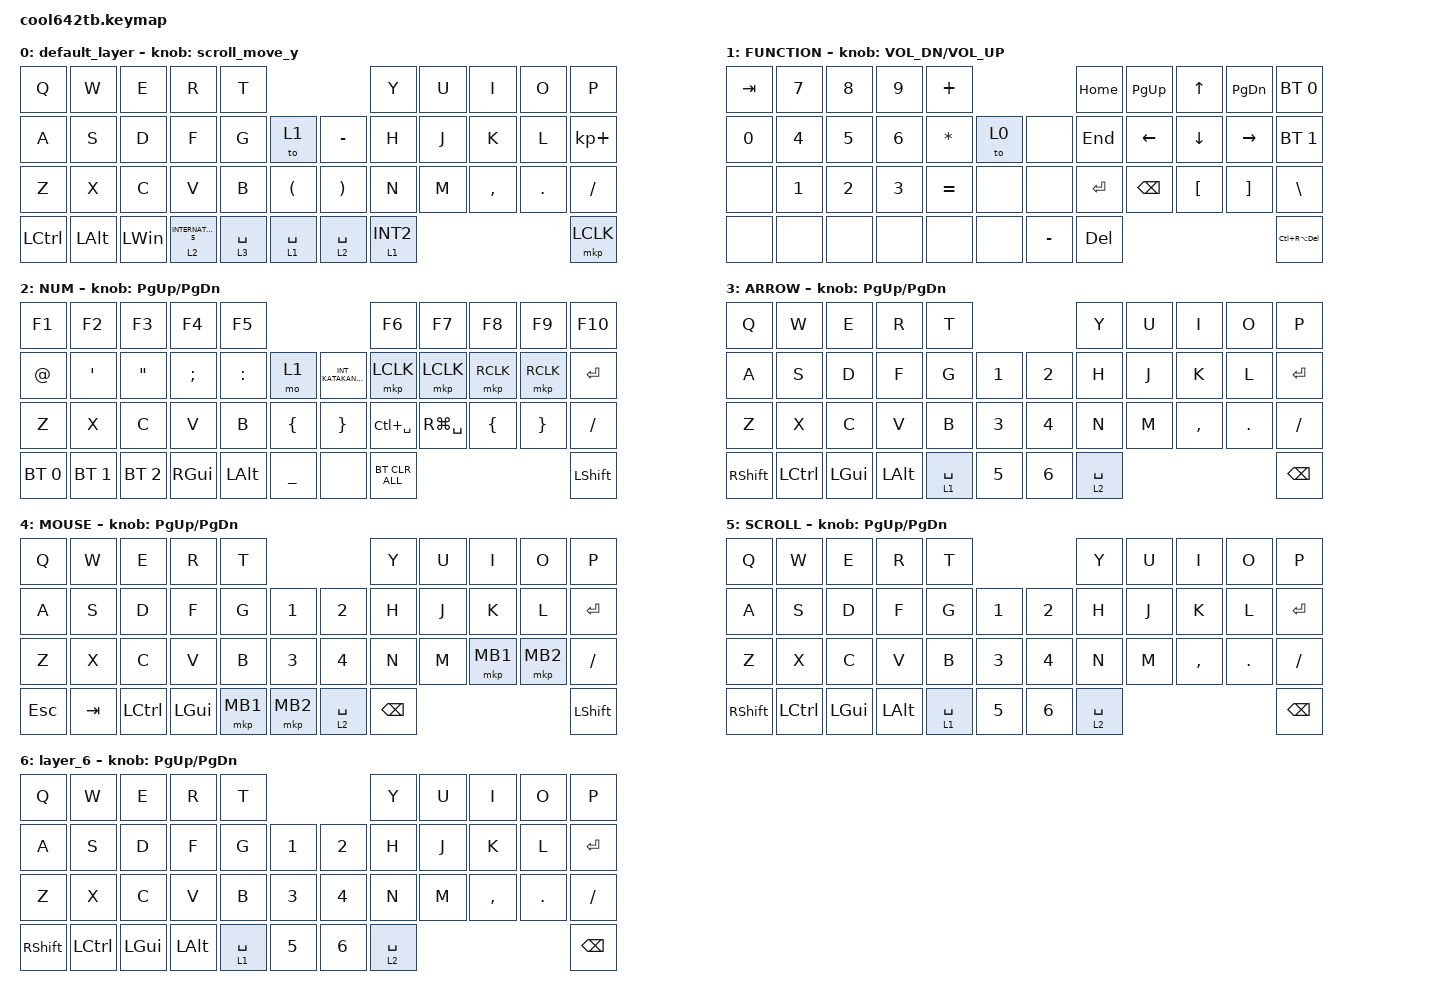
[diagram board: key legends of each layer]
#include <behaviors.dtsi>
#include <dt-bindings/zmk/bt.h>
#include <dt-bindings/zmk/keys.h>
#include <dt-bindings/zmk/pointing.h>

#define ZMK_MOUSE_DEFAULT_SCRL_VAL 100
#define MOUSE 4
#define SCROLL 5
#define NUM 6

&mt {
    flavor = "balanced";
    quick-tap-ms = <0>;
};

/ {
    combos {
        compatible = "zmk,combos";

        comb1 {
            bindings = <&kp TAB>;
            key-positions = <11 10>;
        };

        comb2 {
            bindings = <&kp LS(ESCAPE)>;
            key-positions = <0 1>;
        };

        comb3 {
            bindings = <&kp CAPSLOCK>;
            key-positions = <22 23>;
        };

        comb4 {
            bindings = <&kp BACKSPACE>;
            key-positions = <9 8>;
        };

        comb5 {
            bindings = <&bt BT_CLR_ALL>;
            key-positions = <9 8>;
            timeout-ms = <0>;
            layers = <2>;
        };

        MS_BTN1_ {
            bindings = <&mkp MB1>;
            key-positions = <38 39>;
        };

        MS_BTN2_ {
            bindings = <&mkp MB2>;
            key-positions = <38 37>;
        };
    };

    macros {
        to_layer_0: to_layer_0 {
            compatible = "zmk,behavior-macro-one-param";
            #binding-cells = <1>;
            bindings = <&to 0 &macro_param_1to1 &kp MACRO_PLACEHOLDER>;
            label = "TO_LAYER_0";
        };
    };

    behaviors {
        lt_to_layer_0: lt_to_layer_0 {
            compatible = "zmk,behavior-hold-tap";
            label = "LAYER_TAP_TO_0";
            bindings = <&mo>, <&to_layer_0>;

            #binding-cells = <2>;
            tapping-term-ms = <200>;
        };

        scroll_up_down: behavior_sensor_rotate_mouse_wheel_up_down {
            compatible = "zmk,behavior-sensor-rotate";
            #sensor-binding-cells = <0>;
            bindings = <&msc SCRL_UP>, <&msc SCRL_DOWN>;

            tap-ms = <20>;
        };
    };

    // エンコーダー：キー

    rot_kp: sensor_rotate_kp {
        compatible = "zmk,behavior-sensor-rotate-var";
        #sensor-binding-cells = <2>;
        bindings = <&kp>, <&kp>;
    };

    // エンコーダー：マウススクロール 

    rot_msc: sensor_rotate_msc {
        compatible = "zmk,behavior-sensor-rotate-var";
        #sensor-binding-cells = <2>;
        tap-ms = <20>;
        bindings = <&msc>, <&msc>;
    };

    // エンコーダー：マウススクロール(MOVE_Y)

    scroll_move_y: sensor_rotate_msc_for_move_y {
        compatible = "zmk,behavior-sensor-rotate";
        #sensor-binding-cells = <0>;
        bindings = <&msc MOVE_Y(20)>, <&msc MOVE_Y(-20)>;

        // tap-ms下限メモ Yの値で可変: Y(15) <81>, Y(20) <65>, Y(25) <49>

        tap-ms = <65>;
    };

    // エンコーダー：マウススクロール(MOVE_X)

    scroll_move_x: sensor_rotate_msc_for_move_x {
        compatible = "zmk,behavior-sensor-rotate";
        #sensor-binding-cells = <0>;
        bindings = <&msc MOVE_X(20)>, <&msc MOVE_X(-20)>;

        // tap-ms下限メモ Xの値で可変: X(15) <81>, X(20) <65>, X(25) <49>

        tap-ms = <65>;
    };

    keymap {
        compatible = "zmk,keymap";

        default_layer {
            bindings = <
&kp Q             &kp W         &kp E         &kp R                  &kp T                                                     &kp Y       &kp U  &kp I      &kp O       &kp P
&kp A             &kp S         &kp D         &kp F                  &kp G        &to 1                 &kp MINUS              &kp H       &kp J  &kp K      &kp L       &kp KP_PLUS
&kp Z             &kp X         &kp C         &kp V                  &kp B        &kp LEFT_PARENTHESIS  &kp RIGHT_PARENTHESIS  &kp N       &kp M  &kp COMMA  &kp PERIOD  &kp SLASH
&kp LEFT_CONTROL  &kp LEFT_ALT  &kp LEFT_WIN  &lt 2 INTERNATIONAL_5  &lt 3 SPACE  &lt 1 SPACE           &lt 2 SPACE            &lt 1 INT2                                &mkp LCLK
            >;

            sensor-bindings = <&scroll_move_y>;
        };

        FUNCTION {
            bindings = <
&kp TAB  &kp N7        &kp N8        &kp N9        &kp PLUS                        &kp HOME   &kp PAGE_UP    &kp UP_ARROW      &kp PAGE_DOWN      &bt BT_SEL 0
&kp N0   &kp NUMBER_4  &kp N5        &kp NUMBER_6  &kp ASTERISK  &to 0  &none      &kp END    &kp LEFT       &kp DOWN_ARROW    &kp RIGHT          &bt BT_SEL 1
&none    &kp NUMBER_1  &kp NUMBER_2  &kp NUMBER_3  &kp EQUAL     &none  &none      &kp ENTER  &kp BACKSPACE  &kp LEFT_BRACKET  &kp RIGHT_BRACKET  &kp BACKSLASH
&none    &none         &none         &none         &none         &none  &kp MINUS  &kp DEL                                                        &kp LC(RA(DELETE))
            >;

            sensor-bindings = <&inc_dec_kp C_VOL_DN C_VOL_UP>;
        };

        NUM {
            bindings = <
&kp F1        &kp F2        &kp F3             &kp F4         &kp F5                                                  &kp F6          &kp F7         &kp F8          &kp F9           &kp F10
&kp AT_SIGN   &kp SQT       &kp DOUBLE_QUOTES  &kp SEMICOLON  &kp COLON     &mo 1           &kp INT_KATAKANAHIRAGANA  &mkp LCLK       &mkp LCLK      &mkp RCLK       &mkp RCLK        &kp ENTER
&kp Z         &kp X         &kp C              &kp V          &kp B         &kp LEFT_BRACE  &kp RIGHT_BRACE           &kp LC(SPACE)   &kp RG(SPACE)  &kp LEFT_BRACE  &kp RIGHT_BRACE  &kp SLASH
&bt BT_SEL 0  &bt BT_SEL 1  &bt BT_SEL 2       &kp RGUI       &kp LEFT_ALT  &kp UNDERSCORE  &none                     &bt BT_CLR_ALL                                                  &kp LEFT_SHIFT
            >;

            sensor-bindings = <&inc_dec_kp PG_UP PAGE_DOWN>;
        };

        ARROW {
            bindings = <
&kp Q       &kp W      &kp E     &kp R     &kp T                        &kp Y        &kp U  &kp I      &kp O       &kp P
&kp A       &kp S      &kp D     &kp F     &kp G        &kp N1  &kp N2  &kp H        &kp J  &kp K      &kp L       &kp ENTER
&kp Z       &kp X      &kp C     &kp V     &kp B        &kp N3  &kp N4  &kp N        &kp M  &kp COMMA  &kp PERIOD  &kp SLASH
&kp RSHIFT  &kp LCTRL  &kp LGUI  &kp LALT  &lt 1 SPACE  &kp N5  &kp N6  &lt 2 SPACE                                &kp BSPC
            >;

            sensor-bindings = <&inc_dec_kp PG_UP PAGE_DOWN>;
        };

        MOUSE {
            bindings = <
&kp Q       &kp W    &kp E             &kp R         &kp T                            &kp Y          &kp U  &kp I     &kp O     &kp P
&kp A       &kp S    &kp D             &kp F         &kp G     &kp N1    &kp N2       &kp H          &kp J  &kp K     &kp L     &kp ENTER
&kp Z       &kp X    &kp C             &kp V         &kp B     &kp N3    &kp N4       &kp N          &kp M  &mkp MB1  &mkp MB2  &kp SLASH
&kp ESCAPE  &kp TAB  &kp LEFT_CONTROL  &kp LEFT_GUI  &mkp MB1  &mkp MB2  &lt 2 SPACE  &kp BACKSPACE                             &kp LEFT_SHIFT
            >;

            sensor-bindings = <&inc_dec_kp PG_UP PAGE_DOWN>;
        };

        SCROLL {
            bindings = <
&kp Q       &kp W      &kp E     &kp R     &kp T                        &kp Y        &kp U  &kp I      &kp O       &kp P
&kp A       &kp S      &kp D     &kp F     &kp G        &kp N1  &kp N2  &kp H        &kp J  &kp K      &kp L       &kp ENTER
&kp Z       &kp X      &kp C     &kp V     &kp B        &kp N3  &kp N4  &kp N        &kp M  &kp COMMA  &kp PERIOD  &kp SLASH
&kp RSHIFT  &kp LCTRL  &kp LGUI  &kp LALT  &lt 1 SPACE  &kp N5  &kp N6  &lt 2 SPACE                                &kp BSPC
            >;

            sensor-bindings = <&inc_dec_kp PG_UP PAGE_DOWN>;
        };

        layer_6 {
            bindings = <
&kp Q       &kp W      &kp E     &kp R     &kp T                        &kp Y        &kp U  &kp I      &kp O       &kp P
&kp A       &kp S      &kp D     &kp F     &kp G        &kp N1  &kp N2  &kp H        &kp J  &kp K      &kp L       &kp ENTER
&kp Z       &kp X      &kp C     &kp V     &kp B        &kp N3  &kp N4  &kp N        &kp M  &kp COMMA  &kp PERIOD  &kp SLASH
&kp RSHIFT  &kp LCTRL  &kp LGUI  &kp LALT  &lt 1 SPACE  &kp N5  &kp N6  &lt 2 SPACE                                &kp BSPC
            >;

            sensor-bindings = <&inc_dec_kp PG_UP PAGE_DOWN>;
        };
    };
};
